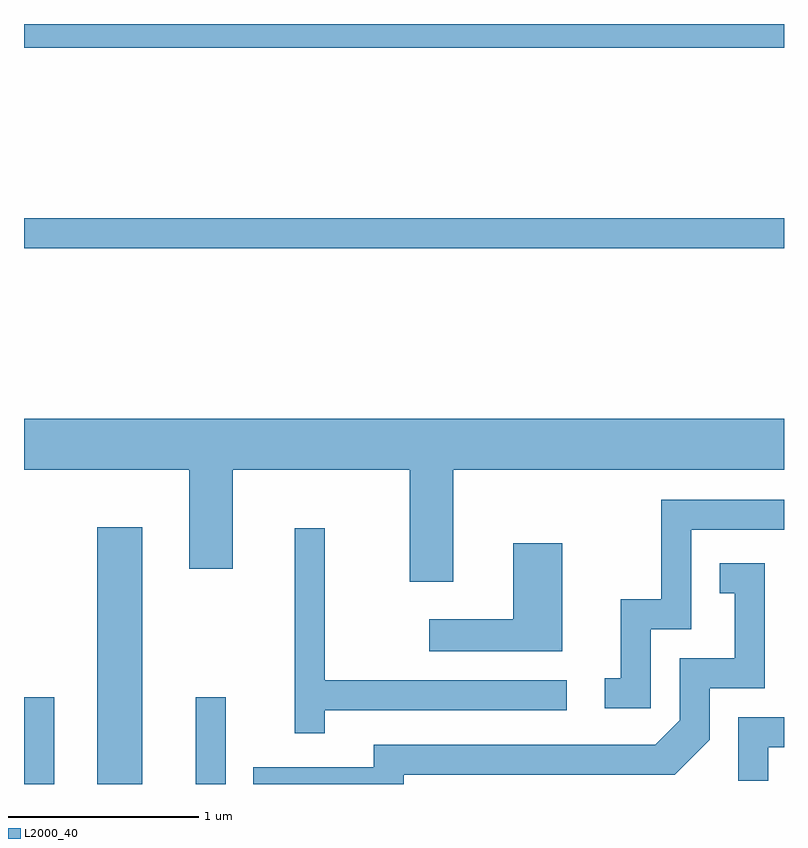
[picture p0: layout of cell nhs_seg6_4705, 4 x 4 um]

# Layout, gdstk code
import gdstk
lib = gdstk.Library(unit=1e-6, precision=1e-09)
def R(c, l, rs):  # rectangles x0, y0, x1, y1
    for r in rs: c.add(gdstk.rectangle(r[:2], r[2:], *l))
def P(c, l, *ps):  # polygons
    for p in ps: c.add(gdstk.Polygon(p, *l))
L2000_40 = (2000, 40)

nhs_seg6_4705 = lib.new_cell('nhs_seg6_4705')
R(nhs_seg6_4705, L2000_40, [(329.611,1546.162,329.769,1546.619), (329.996,1546.162,330.234,1547.514), (330.516,1546.162,330.674,1546.618), (329.611,1548.981,333.611,1549.139), (329.611,1550.036,333.611,1550.162)])
P(nhs_seg6_4705, L2000_40, [(331.869,1547.816),(333.611,1547.816),(333.611,1548.084),(329.611,1548.084),(329.611,1547.816),(330.481,1547.816),(330.481,1547.296),(330.709,1547.296),(330.709,1547.816),(331.641,1547.816),(331.641,1547.226),(331.869,1547.226)],
  [(332.909,1546.976),(333.124,1546.976),(333.124,1547.501),(333.611,1547.501),(333.611,1547.659),(332.966,1547.659),(332.966,1547.134),(332.751,1547.134),(332.751,1546.719),(332.668,1546.719),(332.668,1546.561),(332.909,1546.561)],
  [(331.194,1546.551),(332.468,1546.551),(332.468,1546.709),(331.194,1546.709),(331.194,1547.508),(331.036,1547.508),(331.036,1546.428),(331.194,1546.428)],
  [(332.444,1547.429),(332.186,1547.429),(332.186,1547.029),(331.743,1547.029),(331.743,1546.861),(332.444,1546.861)],
  [(331.609,1546.211),(333.037,1546.211),(333.219,1546.394),(333.219,1546.666),(333.509,1546.666),(333.509,1547.324),(333.273,1547.324),(333.273,1547.166),(333.351,1547.166),(333.351,1546.824),(333.061,1546.824),(333.061,1546.497),(332.934,1546.369),(331.451,1546.369),(331.451,1546.249),(330.818,1546.249),(330.818,1546.162),(331.609,1546.162)],
  [(333.529,1546.356),(333.611,1546.356),(333.611,1546.514),(333.371,1546.514),(333.371,1546.178),(333.529,1546.178)])

lib.write_gds('nhs_seg6_4705.gds')
